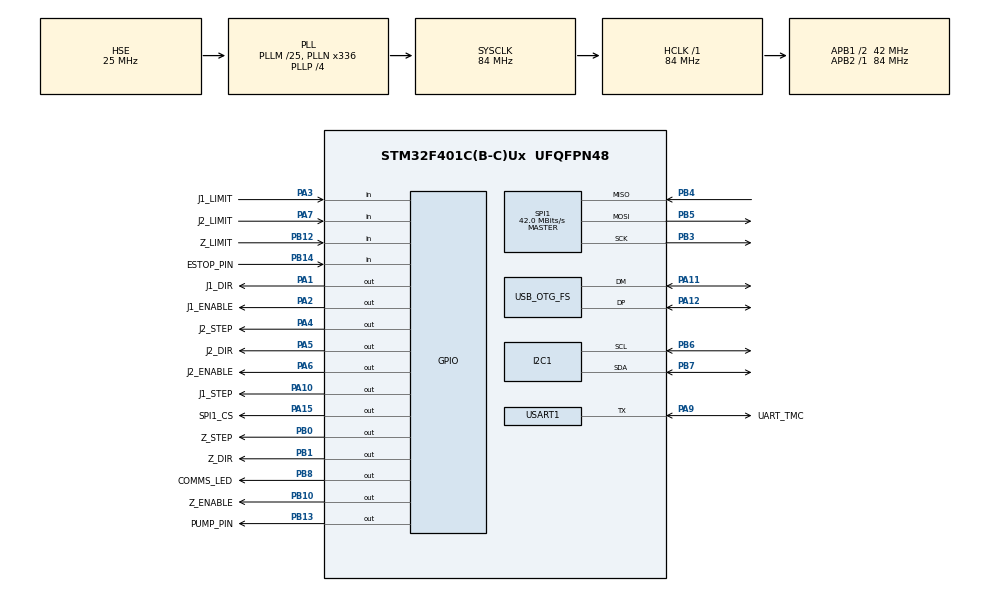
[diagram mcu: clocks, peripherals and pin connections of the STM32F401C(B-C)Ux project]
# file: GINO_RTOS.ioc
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FREERTOS.Queues01=CommandQueue,10,20,1,Dynamic,NULL,NULL
FREERTOS.Tasks01=DispatcherTask,32,512,StartDefaultTask,Default,NULL,Dynamic,NULL,NULL;MotorTask,40,512,StartMotorTask,Default,NULL,Dynamic,NULL,NULL;KinematicsTask,24,512,StartKinematicsTask,Default,NULL,Dynamic,NULL,NULL;CommTask,16,512,StartCommTask,Default,NULL,Dynamic,NULL,NULL;ToolTask,24,256,StartToolTask,Default,NULL,Dynamic,NULL,NULL
Mcu.Family=STM32F4
Mcu.Name=STM32F401C(B-C)Ux
Mcu.Package=UFQFPN48
NVIC.OTG_FS_IRQn=true\:5\:0\:false\:false\:true\:true\:false\:true\:true
NVIC.PriorityGroup=NVIC_PRIORITYGROUP_4
NVIC.TIM1_UP_TIM10_IRQn=true\:15\:0\:false\:false\:true\:false\:false\:true\:true
NVIC.TimeBase=TIM1_UP_TIM10_IRQn
NVIC.TimeBaseIP=TIM1
PA1.GPIO_Label=J1_DIR
PA1.Signal=GPIO_Output
PA10.GPIO_Label=J1_STEP
PA10.Signal=GPIO_Output
PA11.Mode=Device_Only
PA11.Signal=USB_OTG_FS_DM
PA12.Mode=Device_Only
PA12.Signal=USB_OTG_FS_DP
PA13.Mode=Serial_Wire
PA13.Signal=SYS_JTMS-SWDIO
PA14.Mode=Serial_Wire
PA14.Signal=SYS_JTCK-SWCLK
PA15.GPIO_Label=SPI1_CS
PA15.PinState=GPIO_PIN_SET
PA15.Signal=GPIO_Output
PA2.GPIO_Label=J1_ENABLE
PA2.Signal=GPIO_Output
PA3.GPIO_Label=J1_LIMIT
PA3.GPIO_PuPd=GPIO_PULLUP
PA3.Signal=GPIO_Input
PA4.GPIO_Label=J2_STEP
PA4.Signal=GPIO_Output
PA5.GPIO_Label=J2_DIR
PA5.Signal=GPIO_Output
PA6.GPIO_Label=J2_ENABLE
PA6.Signal=GPIO_Output
PA7.GPIO_Label=J2_LIMIT
PA7.GPIO_PuPd=GPIO_PULLUP
PA7.Signal=GPIO_Input
PA9.GPIO_Label=UART_TMC
PA9.Mode=Half_duplex(single_wire_mode)
PA9.Signal=USART1_TX
PB0.GPIO_Label=Z_STEP
PB0.Signal=GPIO_Output
PB1.GPIO_Label=Z_DIR
PB1.Signal=GPIO_Output
PB10.GPIO_Label=Z_ENABLE
PB10.Signal=GPIO_Output
PB12.GPIO_Label=Z_LIMIT
PB12.GPIO_PuPd=GPIO_PULLUP
PB12.Signal=GPIO_Input
PB13.GPIO_Label=PUMP_PIN
PB13.Signal=GPIO_Output
PB14.GPIO_Label=ESTOP_PIN
PB14.GPIO_PuPd=GPIO_PULLUP
PB14.Signal=GPIO_Input
PB3.Mode=Full_Duplex_Master
PB3.Signal=SPI1_SCK
PB4.Mode=Full_Duplex_Master
PB4.Signal=SPI1_MISO
PB5.Mode=Full_Duplex_Master
PB5.Signal=SPI1_MOSI
PB6.GPIO_Pu=GPIO_PULLUP
PB6.Mode=I2C
PB6.Signal=I2C1_SCL
PB7.GPIO_Pu=GPIO_PULLUP
PB7.Mode=I2C
PB7.Signal=I2C1_SDA
PB8.GPIO_Label=COMMS_LED
PB8.Signal=GPIO_Output
PH0\ -\ OSC_IN.Mode=HSE-External-Oscillator
PH0\ -\ OSC_IN.Signal=RCC_OSC_IN
PH1\ -\ OSC_OUT.Mode=HSE-External-Oscillator
PH1\ -\ OSC_OUT.Signal=RCC_OSC_OUT
ProjectManager.HeapSize=0x1000
ProjectManager.StackSize=0x400
ProjectManager.TargetToolchain=CMake
RCC.48MHZClocksFreq_Value=48000000
RCC.AHBFreq_Value=84000000
RCC.APB1CLKDivider=RCC_HCLK_DIV2
RCC.APB1Freq_Value=42000000
RCC.APB1TimFreq_Value=84000000
RCC.APB2Freq_Value=84000000
RCC.APB2TimFreq_Value=84000000
RCC.CortexFreq_Value=84000000
RCC.HCLKFreq_Value=84000000
RCC.HSE_VALUE=25000000
RCC.HSI_VALUE=16000000
RCC.LSE_VALUE=32768
RCC.PLLM=25
RCC.PLLN=336
RCC.PLLP=RCC_PLLP_DIV4
RCC.PLLQ=7
RCC.SYSCLKFreq_VALUE=84000000
RCC.SYSCLKSource=RCC_SYSCLKSOURCE_PLLCLK
RCC.VCOOutputFreq_Value=336000000
SPI1.CalculateBaudRate=42.0 MBits/s
SPI1.Direction=SPI_DIRECTION_2LINES
SPI1.Mode=SPI_MODE_MASTER
SPI1.VirtualType=VM_MASTER
USART1.VirtualMode=VM_ASYNC
USB_DEVICE.CLASS_NAME_FS=CDC
USB_DEVICE.VirtualMode=Cdc
USB_DEVICE.VirtualModeFS=Cdc_FS
USB_OTG_FS.VirtualMode=Device_Only
VP_FREERTOS_VS_CMSIS_V2.Mode=CMSIS_V2
VP_SYS_VS_tim1.Mode=TIM1
VP_USB_DEVICE_VS_USB_DEVICE_CDC_FS.Mode=CDC_FS
board=custom

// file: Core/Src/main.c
/* USER CODE BEGIN Header */
/**
  ******************************************************************************
  * @file           : main.c
  * @brief          : Main program body
  ******************************************************************************
  * @attention
  *
  * Copyright (c) 2026 STMicroelectronics.
  * All rights reserved.
  *
  * This software is licensed under terms that can be found in the LICENSE file
  * in the root directory of this software component.
  * If no LICENSE file comes with this software, it is provided AS-IS.
  *
  ******************************************************************************
  */
/* USER CODE END Header */
#include "main.h"
#include "usb_device.h"
#include "cmsis_os.h"
#include "i2c.h"
#include "spi.h"
#include "usart.h"
#include "gpio.h"

void SystemClock_Config(void);
void MX_FREERTOS_Init(void);

int main(void)
{

  /* MCU Configuration--------------------------------------------------------*/

  /* Reset of all peripherals, Initializes the Flash interface and the Systick. */
  HAL_Init();

  /* Configure the system clock */
  SystemClock_Config();

  /* Initialize all configured peripherals */
  MX_GPIO_Init();
  MX_I2C1_Init();
  MX_SPI1_Init();
  MX_USART1_UART_Init();

  /* Init scheduler */
  osKernelInitialize();  /* Call init function for freertos objects (in cmsis_os2.c) */
  MX_FREERTOS_Init();

  /* Start scheduler */
  osKernelStart();

  /* We should never get here as control is now taken by the scheduler */

  /* Infinite loop */
  while (1)
  {

  }
}

void SystemClock_Config(void)
{
  RCC_OscInitTypeDef RCC_OscInitStruct = {0};
  RCC_ClkInitTypeDef RCC_ClkInitStruct = {0};

  /** Configure the main internal regulator output voltage
  */
  __HAL_RCC_PWR_CLK_ENABLE();
  __HAL_PWR_VOLTAGESCALING_CONFIG(PWR_REGULATOR_VOLTAGE_SCALE2);

  /** Initializes the RCC Oscillators according to the specified parameters
  * in the RCC_OscInitTypeDef structure.
  */
  RCC_OscInitStruct.OscillatorType = RCC_OSCILLATORTYPE_HSE;
  RCC_OscInitStruct.HSEState = RCC_HSE_ON;
  RCC_OscInitStruct.PLL.PLLState = RCC_PLL_ON;
  RCC_OscInitStruct.PLL.PLLSource = RCC_PLLSOURCE_HSE;
  RCC_OscInitStruct.PLL.PLLM = 25;
  RCC_OscInitStruct.PLL.PLLN = 336;
  RCC_OscInitStruct.PLL.PLLP = RCC_PLLP_DIV4;
  RCC_OscInitStruct.PLL.PLLQ = 7;
  if (HAL_RCC_OscConfig(&RCC_OscInitStruct) != HAL_OK)
  {
    Error_Handler();
  }

  /** Initializes the CPU, AHB and APB buses clocks
  */
  RCC_ClkInitStruct.ClockType = RCC_CLOCKTYPE_HCLK|RCC_CLOCKTYPE_SYSCLK
                              |RCC_CLOCKTYPE_PCLK1|RCC_CLOCKTYPE_PCLK2;
  RCC_ClkInitStruct.SYSCLKSource = RCC_SYSCLKSOURCE_PLLCLK;
  RCC_ClkInitStruct.AHBCLKDivider = RCC_SYSCLK_DIV1;
  RCC_ClkInitStruct.APB1CLKDivider = RCC_HCLK_DIV2;
  RCC_ClkInitStruct.APB2CLKDivider = RCC_HCLK_DIV1;

  if (HAL_RCC_ClockConfig(&RCC_ClkInitStruct, FLASH_LATENCY_2) != HAL_OK)
  {
    Error_Handler();
  }
}

void HAL_TIM_PeriodElapsedCallback(TIM_HandleTypeDef *htim)
{
  if (htim->Instance == TIM1)
  {
    HAL_IncTick();
  }
}

void Error_Handler(void)
{
  __disable_irq();
  while (1)
  {
  }
}

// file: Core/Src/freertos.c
/* USER CODE BEGIN Header */
/**
  ******************************************************************************
  * File Name          : freertos.c
  * Description        : Code for freertos applications
  ******************************************************************************
  * @attention
  *
  * Copyright (c) 2026 STMicroelectronics.
  * All rights reserved.
  *
  * This software is licensed under terms that can be found in the LICENSE file
  * in the root directory of this software component.
  * If no LICENSE file comes with this software, it is provided AS-IS.
  *
  ******************************************************************************
  */
/* USER CODE END Header */

#include "FreeRTOS.h"
#include "task.h"
#include "main.h"
#include "cmsis_os.h"

/* USER CODE BEGIN Includes */
#include "system_state.h"
#include "tmc2209_stepper.h"
#include "stepper_it.h"
#include "tool_controller.h"
#include "serial_interface.h"
#include "dispatcher.h"
#include "inverse_kinematics.h"
#include <stdio.h>
#include "config.h"

/* USER CODE END Includes */

/* USER CODE BEGIN Variables */
StepperMotor_t motorJ1;
StepperMotor_t motorJ2;
StepperMotor_t motorZ;

volatile bool pendingHomeJ1J2 = false;
volatile bool pendingTeachReturnJ1J2 = false;

void Dispatcher_MoveJoints(int32_t j1_steps, int32_t j2_steps, int32_t j3_steps)
{
    pendingHomeJ1J2 = false;
    pendingTeachReturnJ1J2 = false;
    Stepper_MoveTo(&motorJ1, j1_steps);
    Stepper_MoveTo(&motorJ2, j2_steps);
    Stepper_MoveTo(&motorZ, j3_steps);
}

void Dispatcher_HomeAllAxes(void)
{
    // Etap 1: Zatrzymaj J1 i J2, wyzeruj ich flagę isHomed i zbazuj najpierw oś Z!
    pendingTeachReturnJ1J2 = false;
    Stepper_Stop(&motorJ1);
    Stepper_Stop(&motorJ2);
    motorJ1.isHomed = false;
    motorJ2.isHomed = false;

    pendingHomeJ1J2 = true;
    Stepper_StartHoming(&motorZ);
}

void Dispatcher_SetTeachMode(uint8_t axisId, bool releaseDrive)
{
    if (axisId == TEACH_AXIS_ALL || axisId == TEACH_AXIS_J1) {
        if (releaseDrive) Stepper_EnableTeachIn(&motorJ1);
        else Stepper_DisableTeachIn(&motorJ1);
    }
    if (axisId == TEACH_AXIS_ALL || axisId == TEACH_AXIS_J2) {
        if (releaseDrive) Stepper_EnableTeachIn(&motorJ2);
        else Stepper_DisableTeachIn(&motorJ2);
    }
    if (axisId == TEACH_AXIS_ALL || axisId == TEACH_AXIS_J3) {
        if (releaseDrive) Stepper_EnableTeachIn(&motorZ);
        else Stepper_DisableTeachIn(&motorZ);
    }
}

void Dispatcher_StartTeachInReturnAll(void)
{
    // Etap 1: Najpierw oś Z wraca na krańcówkę ze zliczaniem kroków, a potem J1 i J2
    pendingHomeJ1J2 = false;
    motorJ1.isTeachInDone = false;
    motorJ2.isTeachInDone = false;
    motorJ1.teachInStepsCount = 0;
    motorJ2.teachInStepsCount = 0;

    pendingTeachReturnJ1J2 = true;
    Stepper_StartTeachInReturn(&motorZ);
}

void Dispatcher_StopAllMotors(void)
{
    pendingHomeJ1J2 = false;
    pendingTeachReturnJ1J2 = false;
    Stepper_Stop(&motorJ1);
    Stepper_Stop(&motorJ2);
    Stepper_Stop(&motorZ);
}
/* USER CODE END Variables */
/* Definitions for DispatcherTask */
osThreadId_t DispatcherTaskHandle;
const osThreadAttr_t DispatcherTask_attributes = {
  .name = "DispatcherTask",
  .stack_size = 512 * 4,
  .priority = (osPriority_t) osPriorityAboveNormal,
};
/* Definitions for MotorTask */
osThreadId_t MotorTaskHandle;
const osThreadAttr_t MotorTask_attributes = {
  .name = "MotorTask",
  .stack_size = 512 * 4,
  .priority = (osPriority_t) osPriorityHigh,
};
/* Definitions for KinematicsTask */
osThreadId_t KinematicsTaskHandle;
const osThreadAttr_t KinematicsTask_attributes = {
  .name = "KinematicsTask",
  .stack_size = 512 * 4,
  .priority = (osPriority_t) osPriorityNormal,
};
/* Definitions for CommTask */
osThreadId_t CommTaskHandle;
const osThreadAttr_t CommTask_attributes = {
  .name = "CommTask",
  .stack_size = 512 * 4,
  .priority = (osPriority_t) osPriorityBelowNormal,
};
/* Definitions for ToolTask */
osThreadId_t ToolTaskHandle;
const osThreadAttr_t ToolTask_attributes = {
  .name = "ToolTask",
  .stack_size = 256 * 4,
  .priority = (osPriority_t) osPriorityNormal,
};
/* Definitions for CommandQueue */
osMessageQueueId_t CommandQueueHandle;
const osMessageQueueAttr_t CommandQueue_attributes = {
  .name = "CommandQueue"
};

void StartDefaultTask(void *argument);
void StartMotorTask(void *argument);
void StartKinematicsTask(void *argument);
void StartCommTask(void *argument);
void StartToolTask(void *argument);

extern void MX_USB_DEVICE_Init(void);
void MX_FREERTOS_Init(void); /* (MISRA C 2004 rule 8.1) */

void MX_FREERTOS_Init(void) {
  /* USER CODE BEGIN Init */
  SystemState_Init();
  ToolController_Init(PUMP_PIN_GPIO_Port, PUMP_PIN_Pin);
  Serial_Init();

  Stepper_Init(&motorJ1, J1_STEP_GPIO_Port, J1_STEP_Pin, J1_DIR_GPIO_Port, J1_DIR_Pin, J1_ENABLE_GPIO_Port, J1_ENABLE_Pin);
  Stepper_SetSpeedDivider(&motorJ1, J1_J2_STEP_DIVIDER);
  Limit_Switch_Init(&motorJ1, J1_LIMIT_GPIO_Port, J1_LIMIT_Pin);

  Stepper_Init(&motorJ2, J2_STEP_GPIO_Port, J2_STEP_Pin, J2_DIR_GPIO_Port, J2_DIR_Pin, J2_ENABLE_GPIO_Port, J2_ENABLE_Pin);
  Stepper_SetSpeedDivider(&motorJ2, J1_J2_STEP_DIVIDER);
  Limit_Switch_Init(&motorJ2, J2_LIMIT_GPIO_Port, J2_LIMIT_Pin);

  Stepper_Init(&motorZ, Z_STEP_GPIO_Port, Z_STEP_Pin, Z_DIR_GPIO_Port, Z_DIR_Pin, Z_ENABLE_GPIO_Port, Z_ENABLE_Pin);
  Stepper_SetSpeedDivider(&motorZ, Z_STEP_DIVIDER);
  Limit_Switch_Init(&motorZ, Z_LIMIT_GPIO_Port, Z_LIMIT_Pin);

  StepperTimer_Init();
  /* USER CODE END Init */

  /* Create the queue(s) */
  /* creation of CommandQueue */
  CommandQueueHandle = osMessageQueueNew (10, sizeof(CommandFrame_t), &CommandQueue_attributes);

  /* Create the thread(s) */
  /* creation of DispatcherTask */
  DispatcherTaskHandle = osThreadNew(StartDefaultTask, NULL, &DispatcherTask_attributes);

  /* creation of MotorTask */
  MotorTaskHandle = osThreadNew(StartMotorTask, NULL, &MotorTask_attributes);

  /* creation of KinematicsTask */
  KinematicsTaskHandle = osThreadNew(StartKinematicsTask, NULL, &KinematicsTask_attributes);

  /* creation of CommTask */
  CommTaskHandle = osThreadNew(StartCommTask, NULL, &CommTask_attributes);

  /* creation of ToolTask */
  ToolTaskHandle = osThreadNew(StartToolTask, NULL, &ToolTask_attributes);

}

void StartDefaultTask(void *argument)
{
  /* init code for USB_DEVICE */
  MX_USB_DEVICE_Init();
  /* USER CODE BEGIN StartDefaultTask */
  CommandFrame_t frame;
  /* Infinite loop */
  for(;;)
  {
    if (HAL_GPIO_ReadPin(ESTOP_PIN_GPIO_Port, ESTOP_PIN_Pin) == GPIO_PIN_RESET)
    {
      if (!SystemState_IsEstop())
      {
        SystemState_SetEstop(true);
        SystemState_SetPendingMotionAck(0);
        ToolController_EnablePump(false);
        Dispatcher_StopAllMotors();
        printf("[ESTOP] Hardware button pressed!\r\n");
      }
    }

    if (osMessageQueueGet(CommandQueueHandle, &frame, NULL, 10) == osOK)
    {
      Dispatcher_ProcessCommand(&frame);
    }
  }
  /* USER CODE END StartDefaultTask */
}

void StartMotorTask(void *argument)
{
  /* USER CODE BEGIN StartMotorTask */
  /* Infinite loop */
  for(;;)
  {
    if (!SystemState_IsEstop())
    {
      Stepper_CheckSoftLimits();
      Stepper_HandleHomingSequence();
      Stepper_HandleTeachInSequence();
      Stepper_SyncPositionToSystemState();
      Stepper_CheckMotionCompletedAck();
    }
    else
    {
      Stepper_Stop(&motorJ1);
      Stepper_Stop(&motorJ2);
      Stepper_Stop(&motorZ);
    }

    osDelay(2);
  }
  /* USER CODE END StartMotorTask */
}

void StartKinematicsTask(void *argument)
{
  /* USER CODE BEGIN StartKinematicsTask */
  RobotState_t state;
  Point3D_t cartesian;
  JointSteps_t teachSteps;
  Point3D_t teachCartesian;
  uint8_t completedCmd = 0;
  /* Infinite loop */
  for(;;)
  {
    SystemState_Get(&state);
    Kinematics_StepsToCartesian(state.currentSteps, &cartesian);
    SystemState_UpdateCartesian(cartesian.x, cartesian.y, cartesian.z);

    if (SystemState_ConsumeTeachInSteps(&teachSteps))
    {
      Kinematics_StepsToCartesian(teachSteps, &teachCartesian);
      Serial_SendFrame(CMD_TEACH_RESPONSE, teachCartesian.x, teachCartesian.y, teachCartesian.z);
    }

    if (SystemState_ConsumeCompletedMotionAck(&completedCmd))
    {
      Serial_SendFrame(CMD_ACK, (float)completedCmd, 1.0f, 0.0f);
    }

    osDelay(20);
  }
  /* USER CODE END StartKinematicsTask */
}

void StartCommTask(void *argument)
{
  /* USER CODE BEGIN StartCommTask */
  /* Infinite loop */
  for(;;)
  {
    HAL_GPIO_TogglePin(COMMS_LED_GPIO_Port, COMMS_LED_Pin);
    osDelay(500);
  }
  /* USER CODE END StartCommTask */
}

void StartToolTask(void *argument)
{
  /* USER CODE BEGIN StartToolTask */
  uint8_t activeDelayCmd = 0;
  uint32_t delayStartTick = 0;
  uint32_t delayDurationMs = 0;
  bool isDelayActive = false;

  uint8_t newCmd = 0;
  uint32_t newDelayMs = 0;
  /* Infinite loop */
  for(;;)
  {
    // 1. Sprawdź czy przyszło nowe zlecenie CMD_DELAY (bez blokowania pętli!)
    if (SystemState_ConsumePendingDelay(&newCmd, &newDelayMs))
    {
      activeDelayCmd = newCmd;
      delayDurationMs = newDelayMs;
      delayStartTick = osKernelGetTickCount();
      isDelayActive = true;
    }

    // 2. Nieblokujące sprawdzanie upływu czasu na podstawie licznika ticków RTOS
    if (isDelayActive)
    {
      if (SystemState_IsEstop())
      {
        isDelayActive = false;
      }
      else if ((osKernelGetTickCount() - delayStartTick) >= delayDurationMs)
      {
        isDelayActive = false;
        Serial_SendFrame(CMD_ACK, (float)activeDelayCmd, 1.0f, 0.0f);
      }
    }

    osDelay(10);
  }
  /* USER CODE END StartToolTask */
}
